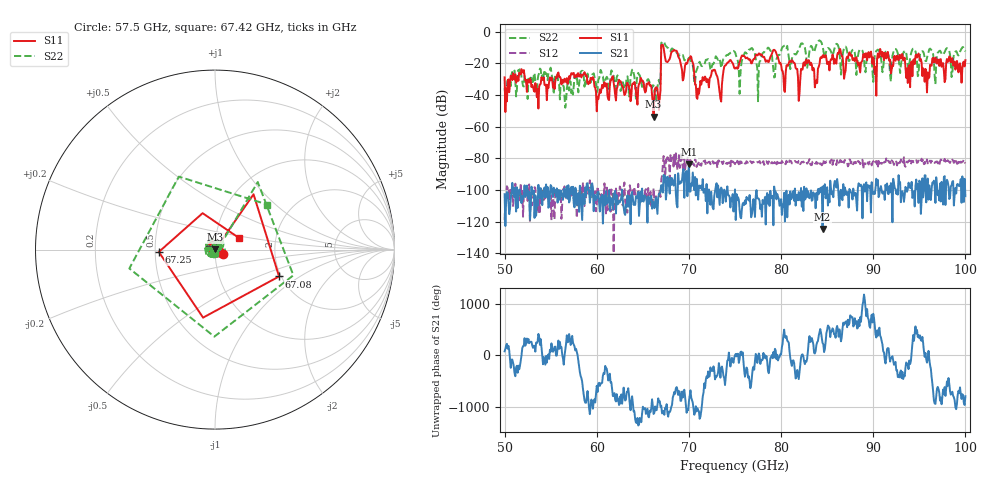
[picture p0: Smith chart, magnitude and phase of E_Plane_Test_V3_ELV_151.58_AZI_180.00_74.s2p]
! 11/26/2026 4:49:17 PM
! C:\ANRITSUVNA\TEMP\TEMP.S2P
! CHANNEL.1
! TR.MEASUREMENT
! RAW.DATA
# HZ S RI R 50.0
! FREQ.HZ  S11RE  S11IM  S21RE  S21IM  S12RE  S12IM  S22RE  S22IM
!; PortSelection: Port_12
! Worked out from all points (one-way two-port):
!   601 points, 50 GHz to 100 GHz, reference 50 ohm
!   highest |S21| = -83.72 dB at 70 GHz (marker M1); lowest = -124.7 dB at 84.5 GHz (marker M2)
!   lowest |S11| = -53.8 dB at 66.17 GHz (marker M3), VSWR 1.00, Z = 50.1 + j0.149 ohm
!   |S11| at or under -10 dB: start of sweep to 67 GHz; 67.25 GHz to end of sweep
!   |S22| runs from -48.1 to -5.6 dB; largest |S21 - S12| = 0.00017
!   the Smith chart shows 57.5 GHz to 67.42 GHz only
!   S11 on the Smith chart (normalised r, x): 57.5 GHz: 1.09, -0.05; 67.08 GHz: 1.95, -0.69; 67.25 GHz: 0.52, -0.01; 67.42 GHz: 1.29, +0.17
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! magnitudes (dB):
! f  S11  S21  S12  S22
! 50 GHz  -28.9  -102.7  -119.1  -35.8
! 51.67 GHz  -26.2  -99.8  -106.6  -23.2
! 57.5 GHz  -26.1  -108.7  -105.7  -34.6
! 58.42 GHz  -27.1  -119.0  -105.5  -24.7
! 60.17 GHz  -42.7  -101.2  -101.5  -30.4
! 66.17 GHz  -53.8  -110.5  -99.0  -34.0
! 66.67 GHz  -41.5  -104.8  -104.9  -31.6
! 67.08 GHz  -8.2  -97.5  -91.0  -6.8
! 67.25 GHz  -10.1  -90.6  -78.6  -6.2
! 67.42 GHz  -16.6  -91.2  -95.6  -8.3
! 70 GHz  -17.3  -83.7  -81.9  -16.5
! 70.92 GHz  -42.5  -97.1  -83.9  -23.1
! 75 GHz  -23.3  -99.7  -83.7  -13.0
! 79.25 GHz  -11.5  -97.9  -83.1  -29.0
! 80.25 GHz  -27.8  -110.9  -83.3  -9.3
! 83.42 GHz  -24.5  -106.4  -82.1  -10.8
! 84.5 GHz  -15.2  -124.7  -83.6  -9.2
! 91.67 GHz  -16.6  -102.7  -81.7  -15.2
! 93.75 GHz  -32.5  -99.6  -82.7  -21.3
! 94.83 GHz  -15.1  -96.5  -82.7  -28.2
! 95.83 GHz  -38.4  -96.0  -80.7  -16.6
! 100 GHz  -18.0  -104.0  -83.2  -12.5
